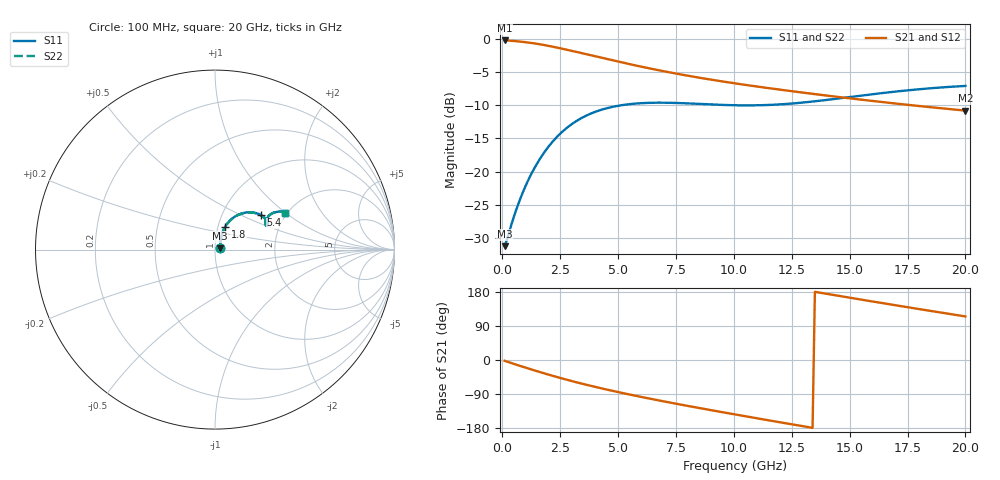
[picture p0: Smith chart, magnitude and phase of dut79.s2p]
! Touchstone file exported from HFSS 2024.1.0
!  File:  C:/UserFiles/LocalFiles/RDL_TSV_Batchsim/temp_RDL_TSV_79_1779413790.aedt
!  Generated:  09:53:10 AM May 22, 2026
!  Design:  RDL_TSV
!  Project:  temp_RDL_TSV_79_1779413790
!  Setup:  Setup1
!  Solution:  Sweep
! Variables:
!  dtsv = 11.51um
!  hbump = 3um
!  htsv = 64.06um
!  ldown = 322.73um
!  lrdl = 667.88um
!  p = 40
!  p1 = 44.05um
!  rhole = 10um
!  subl = 3639.71um
!  t = 450um
!  tdown = 3.3um
!  trdl = 4.16um
!  viad = 10um
!  wdown = 18.4um
!  wrdl = 10.8um
!  xbump = 18um
# GHz S MA R 50.000000
! Terminal data exported
! Port[1] = TM1_1_T1
! Port[2] = TM1_4_T1
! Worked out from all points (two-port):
!   200 points, 100 MHz to 20 GHz, reference 50 ohm
!   highest |S21| = -0.23 dB at 100 MHz (marker M1); lowest = -10.8 dB at 20 GHz (marker M2)
!   |S21| within 3 dB of the highest: start of sweep to 4.771 GHz
!   lowest |S11| = -31.2 dB at 100 MHz (marker M3), VSWR 1.06, Z = 52.7 + j0.78 ohm
!   |S11| at or under -10 dB: start of sweep to 5.139 GHz; 10.04 GHz to 11.1 GHz (1.067 GHz wide, 10.1 % of centre)
!   |S22| runs from -31.2 to -7.1 dB; largest |S21 - S12| = 8.1e-13
!   S11 on the Smith chart (normalised r, x): 100 MHz: 1.05, +0.02; 1.8 GHz: 1.08, +0.28; 5.4 GHz: 1.53, +0.65; 20 GHz: 1.95, +1.00
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0.1  0.02741 15.7  0.9734 -2.1  0.9734 -2.1  0.02741 15.6
! Gamma 0 0 0 0
! Port Impedance 50 0 50 0
0.6  0.05145 53.9  0.9613 -12.3  0.9613 -12.3  0.05146 53.9
0.9  0.0706 61.7  0.9492 -18.2  0.9492 -18.2  0.07061 61.7
1.3  0.09948 66.0  0.9297 -25.8  0.9297 -25.8  0.09945 65.8
1.8  0.1386 66.0  0.8996 -35.1  0.8996 -35.1  0.1385 65.9
2.2  0.1702 63.9  0.8718 -42.2  0.8718 -42.2  0.17 63.7
2.6  0.2004 60.7  0.8426 -49.0  0.8426 -49.0  0.2 60.6
3  0.2279 57.1  0.813 -55.6  0.813 -55.6  0.2274 56.9
3.5  0.2575 52.3  0.7762 -63.4  0.7762 -63.4  0.2569 52.2
4.4  0.2967 44.2  0.7132 -76.5  0.7132 -76.5  0.2957 44.0
5.4  0.3209 36.7  0.6509 -89.9  0.6509 -89.9  0.3196 36.5
6.1  0.3285 32.5  0.6125 -98.7  0.6125 -98.7  0.327 32.3
6.8  0.3306 29.2  0.5784 -107.2  0.5784 -107.2  0.3289 29.1
7.6  0.3287 26.7  0.544 -116.5  0.544 -116.5  0.3267 26.5
8.4  0.3243 25.2  0.5138 -125.6  0.5138 -125.6  0.3222 25.1
10.1  0.3161 25.3  0.4609 -144.2  0.4609 -144.2  0.3136 25.3
11.7  0.3189 28.0  0.421 -161.3  0.421 -161.3  0.3165 28.1
13.4  0.3372 30.9  0.3855 -179.1  0.3855 -179.1  0.335 31.1
15.1  0.3662 32.2  0.3549 163.4  0.3549 163.4  0.3644 32.5
16.7  0.3959 31.7  0.3299 147.3  0.3299 147.3  0.3943 32.0
18.3  0.4219 30.1  0.3081 131.4  0.3081 131.4  0.4205 30.3
20  0.4421 27.7  0.2882 114.9  0.2882 114.9  0.441 27.9
